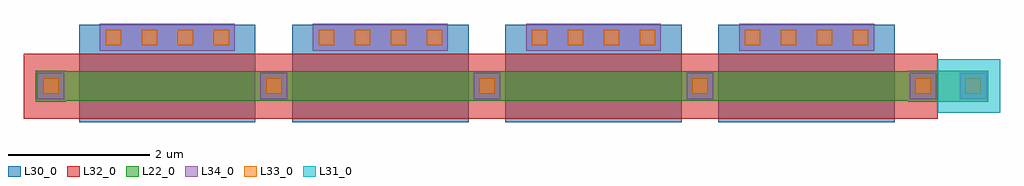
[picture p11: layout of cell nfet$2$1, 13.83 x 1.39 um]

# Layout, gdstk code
import gdstk
lib = gdstk.Library(unit=1e-6, precision=5e-09)
def R(c, l, rs):  # rectangles x0, y0, x1, y1
    for r in rs: c.add(gdstk.rectangle(r[:2], r[2:], *l))
def A(c, l, x, y, w, h, nx, ny, dx, dy):  # array of equal rectangles
    R(c, l, [(x+i*dx, y+j*dy, x+i*dx+w, y+j*dy+h) for i in range(nx) for j in range(ny)])
L22_0 = (22, 0)
L30_0 = (30, 0)
L31_0 = (31, 0)
L32_0 = (32, 0)
L33_0 = (33, 0)
L34_0 = (34, 0)

nfet_2_1 = lib.new_cell('nfet$2$1')
R(nfet_2_1, L22_0, [(-0.42,-0.01,0,0.43), (11.94,-0.01,12.36,0.43), (12.36,-0.01,13.07,0.43), (0,0,11.94,0.42)])
A(nfet_2_1, L30_0, 0.19, -0.3, 2.5, 1.02, 4, 1, 3.02, 0)
A(nfet_2_1, L30_0, 0.19, 0.72, 2.5, 0.36, 4, 1, 3.02, 0)
R(nfet_2_1, L31_0, [(12.36,-0.17,13.24,0.59)])
R(nfet_2_1, L32_0, [(-0.59,-0.25,12.36,0.67)])
A(nfet_2_1, L33_0, 2.84, 0.1, 0.22, 0.22, 3, 1, 3.02, 0)
A(nfet_2_1, L33_0, 0.565, 0.79, 0.22, 0.22, 4, 1, 0.51, 0)
A(nfet_2_1, L33_0, 3.585, 0.79, 0.22, 0.22, 4, 1, 0.51, 0)
A(nfet_2_1, L33_0, 6.605, 0.79, 0.22, 0.22, 4, 1, 0.51, 0)
A(nfet_2_1, L33_0, 9.625, 0.79, 0.22, 0.22, 4, 1, 0.51, 0)
R(nfet_2_1, L33_0, [(-0.32,0.1,-0.1,0.32), (12.04,0.1,12.26,0.32), (12.75,0.1,12.97,0.32)])
A(nfet_2_1, L34_0, 2.76, 0.02, 0.38, 0.38, 3, 1, 3.02, 0)
A(nfet_2_1, L34_0, 0.485, 0.71, 1.91, 0.38, 4, 1, 3.02, 0)
R(nfet_2_1, L34_0, [(-0.4,0.02,-0.02,0.4), (11.96,0.02,12.34,0.4), (12.67,0.02,13.05,0.4)])

lib.write_gds('nfet_2_1.gds')
